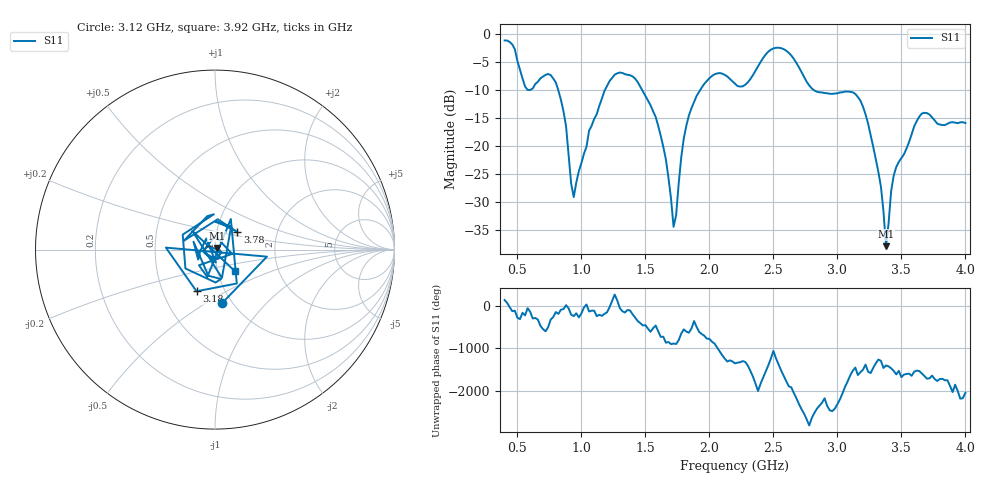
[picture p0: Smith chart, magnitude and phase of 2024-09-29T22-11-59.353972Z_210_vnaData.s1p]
!Created with skrf (http://scikit-rf.org).
# Hz S RI R 50.0
!freq ReS11 ImS11
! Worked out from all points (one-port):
!   181 points, 400 MHz to 4 GHz, reference 50 ohm
!   lowest |S11| = -37.8 dB at 3.38 GHz (marker M1), VSWR 1.03, Z = 51 + j0.876 ohm
!   |S11| at or under -10 dB: 818.8 MHz to 1.184 GHz (365 MHz wide, 36.5 % of centre); 1.475 GHz to 1.928 GHz (453.5 MHz wide, 26.7 % of centre); 2.815 GHz to end of sweep
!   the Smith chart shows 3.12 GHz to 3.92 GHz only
!   S11 on the Smith chart (normalised r, x): 3.12 GHz: 0.90, -0.59; 3.18 GHz: 0.74, -0.37; 3.78 GHz: 1.26, +0.25; 3.92 GHz: 1.21, -0.30
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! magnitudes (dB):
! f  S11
! 400 MHz  -1.2
! 580 MHz  -10.0
! 760 MHz  -7.3
! 860 MHz  -13.8
! 940 MHz  -29.1
! 1.06 GHz  -17.2
! 1.3 GHz  -6.9
! 1.58 GHz  -14.8
! 1.66 GHz  -22.4
! 1.72 GHz  -34.4
! 1.76 GHz  -26.7
! 1.82 GHz  -16.3
! 1.9 GHz  -11.0
! 2.2 GHz  -8.9
! 2.5 GHz  -2.6
! 2.66 GHz  -4.5
! 2.82 GHz  -10.1
! 3.1 GHz  -10.3
! 3.12 GHz  -10.4
! 3.18 GHz  -11.9
! 3.32 GHz  -24.6
! 3.38 GHz  -37.8
! 3.44 GHz  -25.2
! 3.56 GHz  -19.2
! 3.66 GHz  -14.2
! 3.78 GHz  -16.0
! 3.92 GHz  -15.8
! 4 GHz  -15.9
